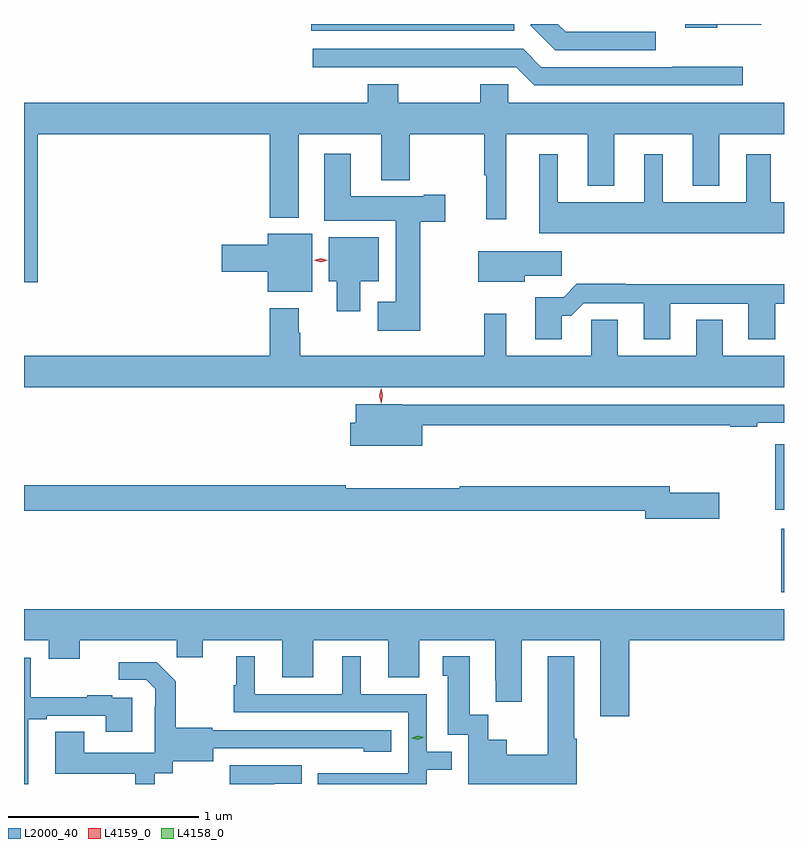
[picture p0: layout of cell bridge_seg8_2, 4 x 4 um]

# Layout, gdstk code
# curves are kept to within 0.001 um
import gdstk
lib = gdstk.Library(unit=1e-6, precision=1e-09)
def R(c, l, rs):  # rectangles x0, y0, x1, y1
    for r in rs: c.add(gdstk.rectangle(r[:2], r[2:], *l))
def P(c, l, *ps):  # polygons
    for p in ps: c.add(gdstk.Polygon(p, *l))
L2000_40 = (2000, 40)
L4158_0 = (4158, 0)
L4159_0 = (4159, 0)

bridge_seg8_2 = lib.new_cell('bridge_seg8_2')
R(bridge_seg8_2, L2000_40, [(960.82,1130.073,960.834,1130.407), (960.788,1130.507,960.834,1130.851), (958.346,1133.028,959.413,1133.063)])
P(bridge_seg8_2, L2000_40, [(960.483,1133.06),(960.715,1133.06),(960.715,1133.063),(960.314,1133.063),(960.314,1133.042),(960.483,1133.042)],
  [(960.16,1133.022),(959.685,1133.022),(959.644,1133.063),(959.502,1133.063),(959.502,1133.054),(959.63,1132.926),(960.16,1132.926)],
  [(960.616,1132.838),(960.247,1132.838),(960.247,1132.836),(959.557,1132.836),(959.461,1132.932),(958.353,1132.932),(958.353,1132.836),(959.424,1132.836),(959.52,1132.74),(960.616,1132.74)],
  [(956.906,1132.484),(958.127,1132.484),(958.127,1132.043),(958.279,1132.043),(958.279,1132.484),(958.715,1132.484),(958.715,1132.241),(958.863,1132.241),(958.863,1132.484),(959.257,1132.484),(959.257,1132.268),(959.267,1132.268),(959.267,1132.035),(959.371,1132.035),(959.371,1132.484),(959.801,1132.484),(959.801,1132.211),(959.941,1132.211),(959.941,1132.484),(960.353,1132.484),(960.353,1132.211),(960.493,1132.211),(960.493,1132.484),(960.834,1132.484),(960.834,1132.648),(959.382,1132.648),(959.382,1132.746),(959.236,1132.746),(959.236,1132.648),(958.803,1132.648),(958.803,1132.747),(958.643,1132.747),(958.643,1132.648),(956.834,1132.648),(956.834,1131.705),(956.906,1131.705)],
  [(958.92,1132.022),(959.05,1132.022),(959.05,1132.164),(958.937,1132.164),(958.937,1132.156),(958.555,1132.156),(958.555,1132.381),(958.415,1132.381),(958.415,1132.028),(958.79,1132.028),(958.79,1131.601),(958.695,1131.601),(958.695,1131.449),(958.92,1131.449)],
  [(960.834,1132.126),(960.763,1132.126),(960.763,1132.378),(960.635,1132.378),(960.635,1132.126),(960.196,1132.126),(960.196,1132.378),(960.098,1132.378),(960.098,1132.126),(959.644,1132.126),(959.644,1132.378),(959.546,1132.378),(959.546,1131.962),(960.834,1131.962)],
  [(958.351,1131.958),(958.118,1131.958),(958.118,1131.902),(957.876,1131.902),(957.876,1131.76),(958.118,1131.76),(958.118,1131.653),(958.351,1131.653)],
  [(958.603,1131.71),(958.702,1131.71),(958.702,1131.94),(958.439,1131.94),(958.439,1131.71),(958.481,1131.71),(958.481,1131.552),(958.603,1131.552)],
  [(959.47,1131.739),(959.665,1131.739),(959.665,1131.868),(959.226,1131.868),(959.226,1131.707),(959.47,1131.707)],
  [(959.665,1131.527),(959.714,1131.527),(959.781,1131.594),(960.095,1131.594),(960.095,1131.405),(960.235,1131.405),(960.235,1131.591),(960.647,1131.591),(960.647,1131.405),(960.787,1131.405),(960.787,1131.591),(960.834,1131.591),(960.834,1131.692),(959.999,1131.692),(959.999,1131.695),(959.744,1131.695),(959.674,1131.625),(959.525,1131.625),(959.525,1131.405),(959.665,1131.405)],
  [(960.834,1131.316),(960.511,1131.316),(960.511,1131.506),(960.371,1131.506),(960.371,1131.316),(959.959,1131.316),(959.959,1131.506),(959.82,1131.506),(959.82,1131.316),(959.371,1131.316),(959.371,1131.538),(959.257,1131.538),(959.257,1131.316),(958.287,1131.316),(958.287,1131.437),(958.279,1131.437),(958.279,1131.568),(958.127,1131.568),(958.127,1131.316),(956.834,1131.316),(956.834,1131.152),(960.834,1131.152)],
  [(958.93,1130.952),(960.55,1130.952),(960.55,1130.944),(960.692,1130.944),(960.692,1130.964),(960.834,1130.964),(960.834,1131.06),(958.826,1131.06),(958.826,1131.061),(958.58,1131.061),(958.58,1130.965),(958.55,1130.965),(958.55,1130.843),(958.93,1130.843)],
  [(960.493,1130.595),(960.232,1130.595),(960.232,1130.629),(959.128,1130.629),(959.128,1130.619),(958.528,1130.619),(958.528,1130.636),(956.834,1130.636),(956.834,1130.5),(960.104,1130.5),(960.104,1130.458),(960.493,1130.458)],
  [(960.02,1129.82),(960.834,1129.82),(960.834,1129.984),(956.834,1129.984),(956.834,1129.82),(956.963,1129.82),(956.963,1129.721),(957.127,1129.721),(957.127,1129.82),(957.637,1129.82),(957.637,1129.73),(957.775,1129.73),(957.775,1129.82),(958.193,1129.82),(958.193,1129.626),(958.357,1129.626),(958.357,1129.82),(958.751,1129.82),(958.751,1129.626),(958.915,1129.626),(958.915,1129.82),(959.315,1129.82),(959.315,1129.609),(959.318,1129.609),(959.318,1129.497),(959.455,1129.497),(959.455,1129.82),(959.867,1129.82),(959.867,1129.419),(960.02,1129.419)],
  [(958.953,1129.137),(959.086,1129.137),(959.086,1129.233),(958.953,1129.233),(958.953,1129.536),(958.606,1129.536),(958.606,1129.735),(958.508,1129.735),(958.508,1129.536),(958.048,1129.536),(958.048,1129.735),(957.95,1129.735),(957.95,1129.584),(957.939,1129.584),(957.939,1129.44),(958.857,1129.44),(958.857,1129.119),(958.38,1129.119),(958.38,1129.063),(958.953,1129.063)],
  [(959.744,1129.3),(959.731,1129.3),(959.731,1129.735),(959.591,1129.735),(959.591,1129.217),(959.374,1129.217),(959.374,1129.297),(959.277,1129.297),(959.277,1129.427),(959.179,1129.427),(959.179,1129.735),(959.039,1129.735),(959.039,1129.632),(959.063,1129.632),(959.063,1129.323),(959.172,1129.323),(959.172,1129.063),(959.744,1129.063)],
  [(956.857,1129.404),(956.953,1129.404),(956.953,1129.422),(957.263,1129.422),(957.263,1129.338),(957.403,1129.338),(957.403,1129.518),(957.299,1129.518),(957.299,1129.531),(957.167,1129.531),(957.167,1129.52),(956.869,1129.52),(956.869,1129.728),(956.834,1129.728),(956.834,1129.063),(956.857,1129.063)],
  [(957.523,1129.12),(957.618,1129.12),(957.618,1129.184),(957.829,1129.184),(957.829,1129.251),(958.623,1129.25),(958.623,1129.232),(958.768,1129.232),(958.768,1129.347),(957.825,1129.347),(957.825,1129.36),(957.633,1129.36),(957.633,1129.605),(957.533,1129.705),(957.333,1129.705),(957.333,1129.611),(957.477,1129.611),(957.524,1129.564),(957.524,1129.469),(957.522,1129.469),(957.522,1129.228),(957.151,1129.228),(957.151,1129.337),(956.999,1129.337),(956.999,1129.118),(957.419,1129.118),(957.419,1129.063),(957.523,1129.063)],
  [(958.151,1129.064),(958.295,1129.064),(958.295,1129.161),(957.918,1129.161),(957.918,1129.063),(958.151,1129.063)])
P(bridge_seg8_2, L4158_0, [(958.907,1129.296),(958.872,1129.303),(958.872,1129.304),(958.872,1129.304),(958.906,1129.316),(958.941,1129.308),(958.941,1129.308),(958.941,1129.308)])
P(bridge_seg8_2, L4159_0, [(958.713,1131.067),(958.713,1131.067),(958.703,1131.107),(958.713,1131.147),(958.713,1131.147),(958.713,1131.147),(958.723,1131.107),(958.713,1131.067)],
  [(958.395,1131.81),(958.358,1131.82),(958.358,1131.82),(958.358,1131.82),(958.396,1131.83),(958.433,1131.82),(958.433,1131.819),(958.433,1131.819)])

lib.write_gds('bridge_seg8_2.gds')
